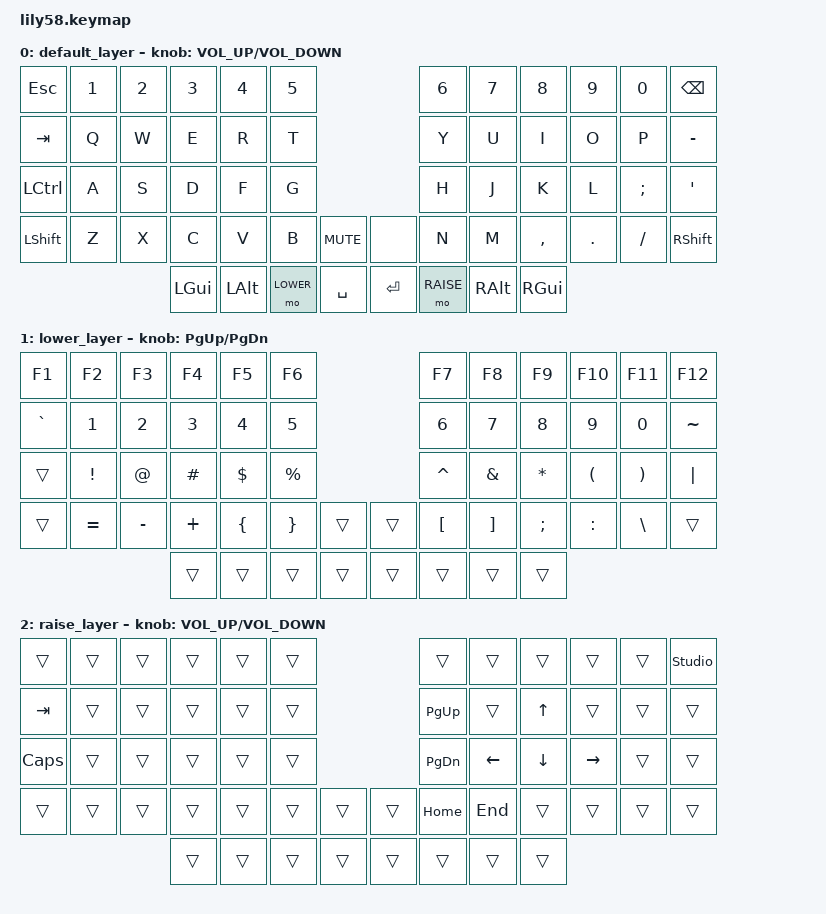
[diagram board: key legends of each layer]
#include <behaviors.dtsi>
#include <dt-bindings/zmk/keys.h>

// Layers
#define DEFAULT 0
#define LOWER   1
#define RAISE   2

// REQUIRED kscan remaps — BOTH halves are soldered into the "swapped" hole-set
// of the Lily58 Pro's reversible footprint (rows<->cols swapped vs the stock
// shield). Derived from the Lily58_Pro.kicad_pcb pad->net map; both CONFIRMED
// working 2026-07-05.
//   left:  rows -> pro_micro 18,15,14,16,10   cols -> 4,5,6,7,8,9
//   right: rows -> pro_micro 18,15,14,16,10   cols -> 9,8,7,6,5,4  (mirrored)
// NOTE: these #ifdef guards only work because build-flash.sh injects the define
// via -DDTS_EXTRA_CPPFLAGS — devicetree is preprocessed BEFORE Kconfig, so
// CONFIG_* is otherwise invisible here. See BUILDING.md.
#ifdef CONFIG_SHIELD_LILY58_LEFT
&kscan0 {
    row-gpios
        = <&pro_micro 18 (GPIO_ACTIVE_HIGH | GPIO_PULL_DOWN)>
        , <&pro_micro 15 (GPIO_ACTIVE_HIGH | GPIO_PULL_DOWN)>
        , <&pro_micro 14 (GPIO_ACTIVE_HIGH | GPIO_PULL_DOWN)>
        , <&pro_micro 16 (GPIO_ACTIVE_HIGH | GPIO_PULL_DOWN)>
        , <&pro_micro 10 (GPIO_ACTIVE_HIGH | GPIO_PULL_DOWN)>
        ;
    col-gpios
        = <&pro_micro 4 GPIO_ACTIVE_HIGH>
        , <&pro_micro 5 GPIO_ACTIVE_HIGH>
        , <&pro_micro 6 GPIO_ACTIVE_HIGH>
        , <&pro_micro 7 GPIO_ACTIVE_HIGH>
        , <&pro_micro 8 GPIO_ACTIVE_HIGH>
        , <&pro_micro 9 GPIO_ACTIVE_HIGH>
        ;
};
#endif

#ifdef CONFIG_SHIELD_LILY58_RIGHT
&kscan0 {
    row-gpios
        = <&pro_micro 18 (GPIO_ACTIVE_HIGH | GPIO_PULL_DOWN)>
        , <&pro_micro 15 (GPIO_ACTIVE_HIGH | GPIO_PULL_DOWN)>
        , <&pro_micro 14 (GPIO_ACTIVE_HIGH | GPIO_PULL_DOWN)>
        , <&pro_micro 16 (GPIO_ACTIVE_HIGH | GPIO_PULL_DOWN)>
        , <&pro_micro 10 (GPIO_ACTIVE_HIGH | GPIO_PULL_DOWN)>
        ;
    col-gpios
        = <&pro_micro 9 GPIO_ACTIVE_HIGH>
        , <&pro_micro 8 GPIO_ACTIVE_HIGH>
        , <&pro_micro 7 GPIO_ACTIVE_HIGH>
        , <&pro_micro 6 GPIO_ACTIVE_HIGH>
        , <&pro_micro 5 GPIO_ACTIVE_HIGH>
        , <&pro_micro 4 GPIO_ACTIVE_HIGH>
        ;
};
#endif

/ {
    keymap {
        compatible = "zmk,keymap";

        default_layer {
// ------------------------------------------------------------------------------------------
// |  ESC |  1  |  2  |  3  |  4  |  5  |                   |  6  |  7  |  8  |  9  |  0  | BKSP |
// |  TAB |  Q  |  W  |  E  |  R  |  T  |                   |  Y  |  U  |  I  |  O  |  P  |  -   |
// | CTRL |  A  |  S  |  D  |  F  |  G  |                   |  H  |  J  |  K  |  L  |  ;  |  '   |
// | SHFT |  Z  |  X  |  C  |  V  |  B  | MUTE |   |        |  N  |  M  |  ,  |  .  |  /  | SHFT |
//                    | GUI | ALT | LWR | SPC  |   | ENT   | RSE | ALT | GUI |
            bindings = <
&kp ESC   &kp N1 &kp N2 &kp N3   &kp N4   &kp N5                       &kp N6 &kp N7   &kp N8    &kp N9  &kp N0   &kp BSPC
&kp TAB   &kp Q  &kp W  &kp E    &kp R    &kp T                        &kp Y  &kp U    &kp I     &kp O   &kp P    &kp MINUS
&kp LCTRL &kp A  &kp S  &kp D    &kp F    &kp G                        &kp H  &kp J    &kp K     &kp L   &kp SEMI &kp SQT
&kp LSHFT &kp Z  &kp X  &kp C    &kp V    &kp B  &kp C_MUTE   &none     &kp N  &kp M    &kp COMMA &kp DOT &kp FSLH &kp RSHFT
                        &kp LGUI &kp LALT &mo LOWER &kp SPACE  &kp RET  &mo RAISE &kp RALT &kp RGUI
            >;
            sensor-bindings = <&inc_dec_kp C_VOLUME_UP C_VOLUME_DOWN>;
        };

        lower_layer {
// ------------------------------------------------------------------------------------------
// |  F1  | F2  | F3  | F4  | F5  | F6  |                   | F7  | F8  | F9  | F10 | F11 | F12  |
// |  `   |  1  |  2  |  3  |  4  |  5  |                   |  6  |  7  |  8  |  9  |  0  |  ~   |
// |      |  !  |  @  |  #  |  $  |  %  |                   |  ^  |  &  |  *  |  (  |  )  |  |   |
// |      |  =  |  -  |  +  |  {  |  }  |      |   |        |  [  |  ]  |  ;  |  :  |  \  |      |
//                    |     |     |     |      |   |        |     |     |     |
            bindings = <
&kp F1    &kp F2    &kp F3    &kp F4   &kp F5    &kp F6                      &kp F7    &kp F8   &kp F9    &kp F10   &kp F11   &kp F12
&kp GRAVE &kp N1    &kp N2    &kp N3   &kp N4    &kp N5                      &kp N6    &kp N7   &kp N8    &kp N9    &kp N0    &kp TILDE
&trans    &kp EXCL  &kp AT    &kp HASH &kp DLLR  &kp PRCNT                   &kp CARET &kp AMPS &kp ASTRK &kp LPAR  &kp RPAR  &kp PIPE
&trans    &kp EQUAL &kp MINUS &kp PLUS &kp LBRC  &kp RBRC  &trans   &trans   &kp LBKT  &kp RBKT &kp SEMI  &kp COLON &kp BSLH  &trans
                              &trans   &trans    &trans    &trans   &trans   &trans    &trans   &trans
            >;
            sensor-bindings = <&inc_dec_kp PG_UP PG_DN>;
        };

        raise_layer {
// ------------------------------------------------------------------------------------------
// |      |     |     |     |     |     |                   |     |     |     |     |     | STUDIO UNLOCK |
// |  TAB |     |     |     |     |     |                   | PGUP|     | UP  |     |     |      |
// | CAPS |     |     |     |     |     |                   | PGDN| LFT | DWN | RGT |     |      |
// |      |     |     |     |     |     |      |   |        | HOME| END |     |     |     |      |
//                    |     |     |     |      |   |        |     |     |     |
            bindings = <
&trans      &trans       &trans       &trans       &trans       &trans                     &trans       &trans       &trans       &trans &trans &studio_unlock
&kp TAB     &trans       &trans       &trans       &trans       &trans                     &kp PG_UP &trans    &kp UP   &trans     &trans &trans
&kp CAPS    &trans       &trans       &trans       &trans       &trans                     &kp PG_DN &kp LEFT  &kp DOWN &kp RIGHT  &trans &trans
&trans      &trans       &trans       &trans       &trans       &trans   &trans   &trans   &kp HOME  &kp END   &trans   &trans     &trans &trans
                                      &trans       &trans       &trans   &trans   &trans   &trans    &trans    &trans
            >;
            sensor-bindings = <&inc_dec_kp C_VOLUME_UP C_VOLUME_DOWN>;
        };
    };
};
